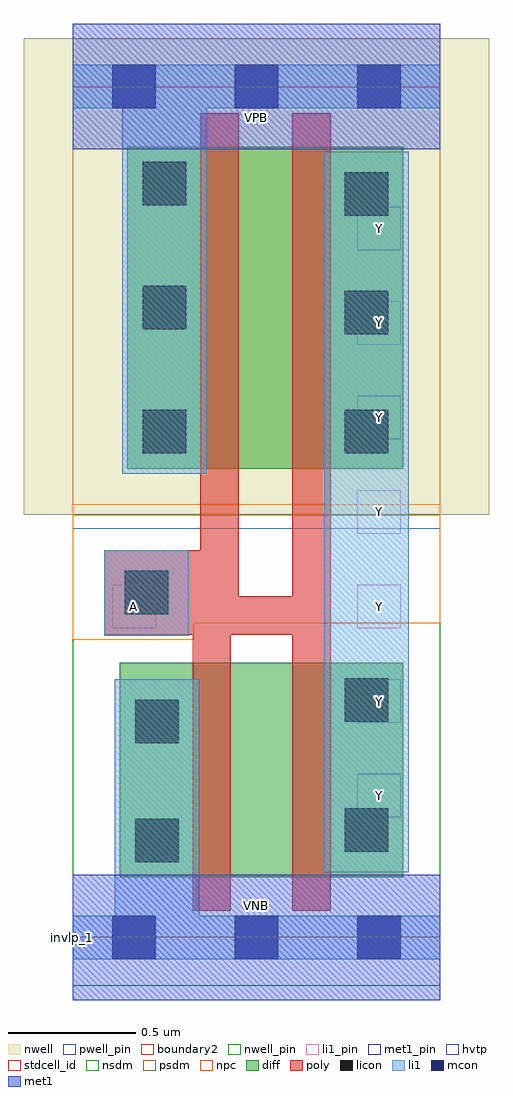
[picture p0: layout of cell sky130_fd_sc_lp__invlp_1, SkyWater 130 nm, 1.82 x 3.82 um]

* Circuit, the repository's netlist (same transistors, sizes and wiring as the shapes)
* Copyright 2020 The SkyWater PDK Authors
*
* Licensed under the Apache License, Version 2.0 (the "License");
* you may not use this file except in compliance with the License.
* You may obtain a copy of the License at
*
*     https://www.apache.org/licenses/LICENSE-2.0
*
* Unless required by applicable law or agreed to in writing, software
* distributed under the License is distributed on an "AS IS" BASIS,
* WITHOUT WARRANTIES OR CONDITIONS OF ANY KIND, either express or implied.
* See the License for the specific language governing permissions and
* limitations under the License.
*
* SPDX-License-Identifier: Apache-2.0

.SUBCKT sky130_fd_sc_lp__invlp_1 A VGND VNB VPB VPWR Y
*.PININFO A:I VGND:I VNB:I VPB:I VPWR:I Y:O
MMIP1 Y A net14 VPB sky130_fd_pr__pfet_01v8_hvt m=1 w=1.26U l=0.15U mult=1 sa=0.265
+ sb=0.265 sd=0.28 area=0.063 perim=1.14
MI5 net14 A VPWR VPB sky130_fd_pr__pfet_01v8_hvt m=1 w=1.26U l=0.15U mult=1 sa=0.265
+ sb=0.265 sd=0.28 area=0.063 perim=1.14
MMIN1 Y A net22 VNB sky130_fd_pr__nfet_01v8 m=1 w=0.84U l=0.15U mult=1 sa=0.265
+ sb=0.265 sd=0.28 area=0.063 perim=1.14
MI6 net22 A VGND VNB sky130_fd_pr__nfet_01v8 m=1 w=0.84U l=0.15U mult=1 sa=0.265
+ sb=0.265 sd=0.28 area=0.063 perim=1.14
.ENDS sky130_fd_sc_lp__invlp_1

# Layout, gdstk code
import gdstk
lib = gdstk.Library(unit=1e-6, precision=1e-09)
def R(c, l, rs):  # rectangles x0, y0, x1, y1
    for r in rs: c.add(gdstk.rectangle(r[:2], r[2:], *l))
def A(c, l, x, y, w, h, nx, ny, dx, dy):  # array of equal rectangles
    R(c, l, [(x+i*dx, y+j*dy, x+i*dx+w, y+j*dy+h) for i in range(nx) for j in range(ny)])
def P(c, l, *ps):  # polygons
    for p in ps: c.add(gdstk.Polygon(p, *l))
nwell_pin = (64, 16)
nwell = (64, 20)
diff = (65, 20)
poly = (66, 20)
licon = (66, 44)
li1_pin = (67, 16)
li1 = (67, 20)
mcon = (67, 44)
met1_pin = (68, 16)
met1 = (68, 20)
hvtp = (78, 44)
stdcell_id = (81, 4)
nsdm = (93, 44)
psdm = (94, 20)
npc = (95, 20)
pwell_pin = (122, 16)
boundary2 = (236, 0)

sky130_fd_sc_lp__invlp_1 = lib.new_cell('sky130_fd_sc_lp__invlp_1')
R(sky130_fd_sc_lp__invlp_1, nwell_pin, [(0,3.085,1.44,3.33)])
R(sky130_fd_sc_lp__invlp_1, nwell, [(-0.19,1.655,1.63,3.52)])
R(sky130_fd_sc_lp__invlp_1, diff, [(0.185,0.235,1.295,1.075), (0.215,1.835,1.295,3.095)])
P(sky130_fd_sc_lp__invlp_1, poly, [(1.01,3.225),(0.86,3.225),(0.86,1.335),(0.65,1.335),(0.65,3.225),(0.5,3.225),(0.5,1.515),(0.125,1.515),(0.125,1.185),(0.47,1.185),(0.47,0.105),(0.62,0.105),(0.62,1.185),(0.86,1.185),(0.86,0.105),(1.01,0.105)])
A(sky130_fd_sc_lp__invlp_1, licon, 0.275, 1.895, 0.17, 0.17, 1, 3, 0, 0.485)
A(sky130_fd_sc_lp__invlp_1, licon, 1.065, 1.895, 0.17, 0.17, 1, 3, 0, 0.465)
R(sky130_fd_sc_lp__invlp_1, licon, [(0.245,0.295,0.415,0.465), (1.065,0.335,1.235,0.505), (0.245,0.76,0.415,0.93), (1.065,0.845,1.235,1.015), (0.205,1.265,0.375,1.435)])
A(sky130_fd_sc_lp__invlp_1, li1_pin, 1.115, 0.47, 0.17, 0.17, 1, 7, 0, 0.37)
R(sky130_fd_sc_lp__invlp_1, li1_pin, [(0.155,1.21,0.325,1.38)])
R(sky130_fd_sc_lp__invlp_1, li1, [(0.985,0.255,1.315,3.075), (0.125,1.18,0.455,1.515)])
P(sky130_fd_sc_lp__invlp_1, li1, [(0.195,1.815),(0.195,3.245),(0,3.245),(0,3.415),(1.44,3.415),(1.44,3.245),(0.525,3.245),(0.525,1.815)],
  [(0.165,0.085),(0.165,1.01),(0.495,1.01),(0.495,0.085),(1.44,0.085),(1.44,-0.085),(0,-0.085),(0,0.085)])
A(sky130_fd_sc_lp__invlp_1, mcon, 0.155, -0.085, 0.17, 0.17, 3, 2, 0.48, 3.33)
R(sky130_fd_sc_lp__invlp_1, met1_pin, [(0,0,1.44,0.245), (0,3.085,1.44,3.33)])
R(sky130_fd_sc_lp__invlp_1, met1, [(0,-0.245,1.44,0.245), (0,3.085,1.44,3.575)])
R(sky130_fd_sc_lp__invlp_1, hvtp, [(0,1.6,1.44,3.33)])
R(sky130_fd_sc_lp__invlp_1, stdcell_id, [(0,0,1.44,3.33)])
R(sky130_fd_sc_lp__invlp_1, nsdm, [(0,-0.19,1.44,1.655)])
R(sky130_fd_sc_lp__invlp_1, psdm, [(0,1.655,1.44,3.52)])
P(sky130_fd_sc_lp__invlp_1, npc, [(1.44,1.695),(0,1.695),(0,1.165),(0.475,1.165),(0.475,1.23),(1.44,1.23)])
R(sky130_fd_sc_lp__invlp_1, pwell_pin, [(0,0,1.44,0.245)])
R(sky130_fd_sc_lp__invlp_1, boundary2, [(0,0,1.44,3.33)])
sky130_fd_sc_lp__invlp_1.add(gdstk.Label('VNB', (0.72,0.123), layer=64, texttype=59))
sky130_fd_sc_lp__invlp_1.add(gdstk.Label('VPB', (0.72,3.208), layer=64, texttype=5))
sky130_fd_sc_lp__invlp_1.add(gdstk.Label('invlp_1', (0,0), layer=83, texttype=44))
sky130_fd_sc_lp__invlp_1.add(gdstk.Label('VPWR', (0.72,3.208), layer=68, texttype=5))
sky130_fd_sc_lp__invlp_1.add(gdstk.Label('VGND', (0.72,0.123), layer=68, texttype=5))
sky130_fd_sc_lp__invlp_1.add(gdstk.Label('A', (0.24,1.295), layer=67, texttype=5))
sky130_fd_sc_lp__invlp_1.add(gdstk.Label('Y', (1.2,0.555), layer=67, texttype=5))
sky130_fd_sc_lp__invlp_1.add(gdstk.Label('Y', (1.2,0.925), layer=67, texttype=5))
sky130_fd_sc_lp__invlp_1.add(gdstk.Label('Y', (1.2,1.295), layer=67, texttype=5))
sky130_fd_sc_lp__invlp_1.add(gdstk.Label('Y', (1.2,1.665), layer=67, texttype=5))
sky130_fd_sc_lp__invlp_1.add(gdstk.Label('Y', (1.2,2.035), layer=67, texttype=5))
sky130_fd_sc_lp__invlp_1.add(gdstk.Label('Y', (1.2,2.405), layer=67, texttype=5))
sky130_fd_sc_lp__invlp_1.add(gdstk.Label('Y', (1.2,2.775), layer=67, texttype=5))

lib.write_gds('sky130_fd_sc_lp__invlp_1.gds')
